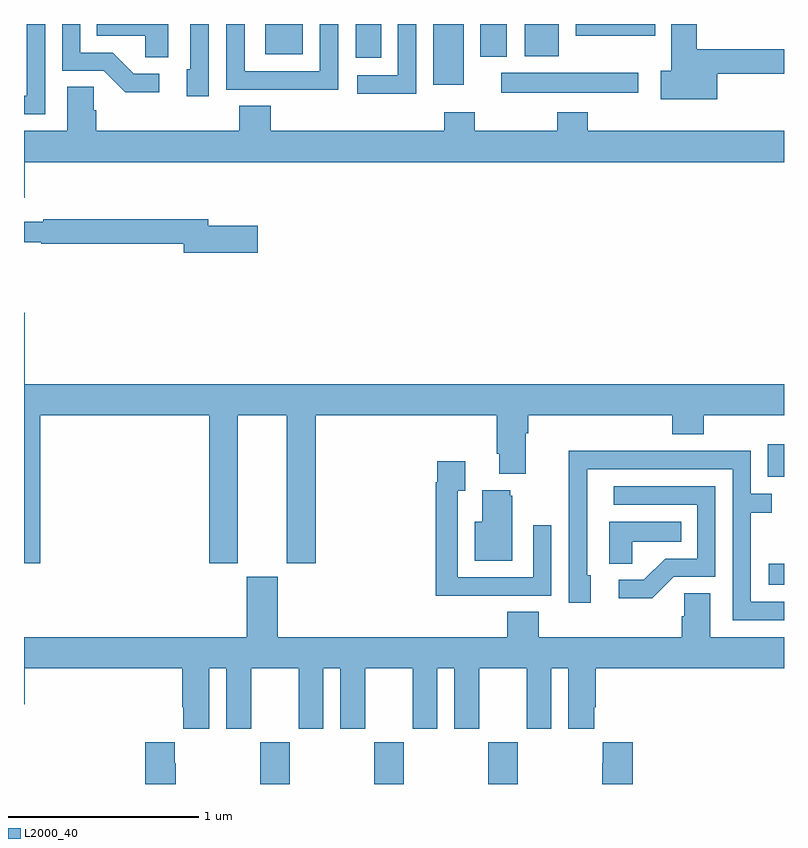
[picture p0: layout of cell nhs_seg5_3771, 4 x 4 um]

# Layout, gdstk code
import gdstk
lib = gdstk.Library(unit=1e-6, precision=1e-09)
def R(c, l, rs):  # rectangles x0, y0, x1, y1
    for r in rs: c.add(gdstk.rectangle(r[:2], r[2:], *l))
def A(c, l, x, y, w, h, nx, ny, dx, dy):  # array of equal rectangles
    R(c, l, [(x+i*dx, y+j*dy, x+i*dx+w, y+j*dy+h) for i in range(nx) for j in range(ny)])
def P(c, l, *ps):  # polygons
    for p in ps: c.add(gdstk.Polygon(p, *l))
L2000_40 = (2000, 40)

nhs_seg5_3771 = lib.new_cell('nhs_seg5_3771')
A(nhs_seg5_3771, L2000_40, 334.243, 874.799, 0.155, 0.221, 3, 1, 0.6, 0)
R(nhs_seg5_3771, L2000_40, [(336.921,875.849,337,875.959), (336.915,876.417,337,876.586), (335.511,878.438,336.232,878.542), (335.153,878.478,335.314,878.799), (334.745,878.622,334.879,878.799), (335.402,878.627,335.542,878.799), (335.636,878.63,335.815,878.799), (334.271,878.639,334.468,878.799), (335.903,878.738,336.322,878.799)])
P(nhs_seg5_3771, L2000_40, [(334.653,878.799),(334.557,878.799),(334.557,878.55),(334.161,878.55),(334.161,878.799),(334.065,878.799),(334.065,878.454),(334.381,878.454),(334.381,878.453),(334.653,878.453)],
  [(333.972,878.799),(333.876,878.799),(333.876,878.562),(333.857,878.562),(333.857,878.418),(333.972,878.418)],
  [(333.111,878.799),(333.015,878.799),(333.015,878.421),(333,878.421),(333,878.325),(333.111,878.325)],
  [(333.712,878.538),(333.577,878.538),(333.466,878.649),(333.297,878.649),(333.297,878.799),(333.201,878.799),(333.201,878.553),(333.42,878.553),(333.533,878.441),(333.712,878.441)],
  [(333.76,878.799),(333.382,878.799),(333.382,878.738),(333.639,878.738),(333.639,878.623),(333.76,878.623)],
  [(335.064,878.799),(334.968,878.799),(334.968,878.529),(334.755,878.529),(334.755,878.432),(335.064,878.432)],
  [(336.649,878.538),(337,878.538),(337,878.666),(336.542,878.666),(336.542,878.799),(336.407,878.799),(336.407,878.552),(336.351,878.552),(336.351,878.402),(336.649,878.402)],
  [(333.004,878.072),(337,878.072),(337,878.236),(335.966,878.236),(335.966,878.335),(335.806,878.335),(335.806,878.236),(335.373,878.236),(335.373,878.335),(335.213,878.335),(335.213,878.236),(334.298,878.236),(334.298,878.369),(334.133,878.369),(334.133,878.236),(333.38,878.236),(333.38,878.345),(333.366,878.345),(333.366,878.468),(333.227,878.468),(333.227,878.236),(333,878.236),(333,877.884),(333.004,877.884)],
  [(334.231,877.737),(333.97,877.737),(333.97,877.771),(333.1,877.771),(333.1,877.758),(333,877.758),(333,877.65),(333.092,877.65),(333.092,877.642),(333.842,877.642),(333.842,877.595),(334.231,877.595)],
  [(333.086,876.74),(333.974,876.74),(333.974,875.961),(334.126,875.961),(334.126,876.74),(334.382,876.74),(334.382,875.961),(334.535,875.961),(334.535,876.74),(335.489,876.74),(335.489,876.538),(335.501,876.538),(335.501,876.431),(335.641,876.431),(335.641,876.644),(335.654,876.644),(335.654,876.74),(336.413,876.74),(336.413,876.641),(336.578,876.641),(336.578,876.74),(337,876.74),(337,876.904),(333.004,876.904),(333.004,877.279),(333,877.279),(333,875.961),(333.086,875.961)],
  [(337,875.757),(336.825,875.757),(336.825,876.226),(336.935,876.226),(336.935,876.327),(336.825,876.327),(336.825,876.552),(336.329,876.552),(336.329,876.554),(335.866,876.554),(335.866,876.247),(335.868,876.247),(335.868,875.754),(335.983,875.754),(335.983,875.898),(335.964,875.898),(335.964,876.456),(336.729,876.456),(336.729,875.661),(337,875.661)],
  [(335.459,875.79),(335.775,875.79),(335.775,876.16),(335.679,876.16),(335.679,875.886),(335.283,875.886),(335.283,876.343),(335.323,876.343),(335.323,876.499),(335.175,876.499),(335.175,876.386),(335.167,876.386),(335.167,875.789),(335.459,875.789)],
  [(336.42,875.889),(336.639,875.889),(336.639,876.366),(336.105,876.366),(336.105,876.27),(336.543,876.27),(336.543,875.985),(336.374,875.985),(336.263,875.874),(336.129,875.874),(336.129,875.777),(336.307,875.777)],
  [(335.569,876.315),(335.558,876.315),(335.558,876.346),(335.411,876.346),(335.411,876.178),(335.372,876.178),(335.372,875.975),(335.569,875.975)],
  [(336.201,876.074),(336.458,876.074),(336.458,876.178),(336.08,876.178),(336.08,875.959),(336.201,875.959)],
  [(333,875.22),(333.004,875.22),(333.004,875.408),(333.833,875.408),(333.833,875.203),(333.839,875.203),(333.839,875.091),(333.976,875.091),(333.976,875.408),(334.064,875.408),(334.064,875.091),(334.195,875.091),(334.195,875.408),(334.445,875.408),(334.445,875.091),(334.576,875.091),(334.576,875.408),(334.664,875.408),(334.664,875.091),(334.795,875.091),(334.795,875.408),(335.045,875.408),(335.045,875.091),(335.176,875.091),(335.176,875.408),(335.264,875.408),(335.264,875.091),(335.395,875.091),(335.395,875.408),(335.645,875.408),(335.645,875.091),(335.776,875.091),(335.776,875.408),(335.864,875.408),(335.864,875.091),(336.001,875.091),(336.001,875.203),(336.008,875.203),(336.008,875.408),(337,875.408),(337,875.572),(336.613,875.572),(336.613,875.804),(336.474,875.804),(336.474,875.681),(336.461,875.681),(336.461,875.572),(335.708,875.572),(335.708,875.705),(335.543,875.705),(335.543,875.572),(334.336,875.572),(334.336,875.889),(334.172,875.889),(334.172,875.572),(333,875.572)],
  [(336.203,875.02),(336.047,875.02),(336.047,874.907),(336.043,874.907),(336.043,874.799),(336.203,874.799)],
  [(333.798,874.907),(333.793,874.907),(333.793,875.02),(333.638,875.02),(333.638,874.799),(333.798,874.799)])

lib.write_gds('nhs_seg5_3771.gds')
